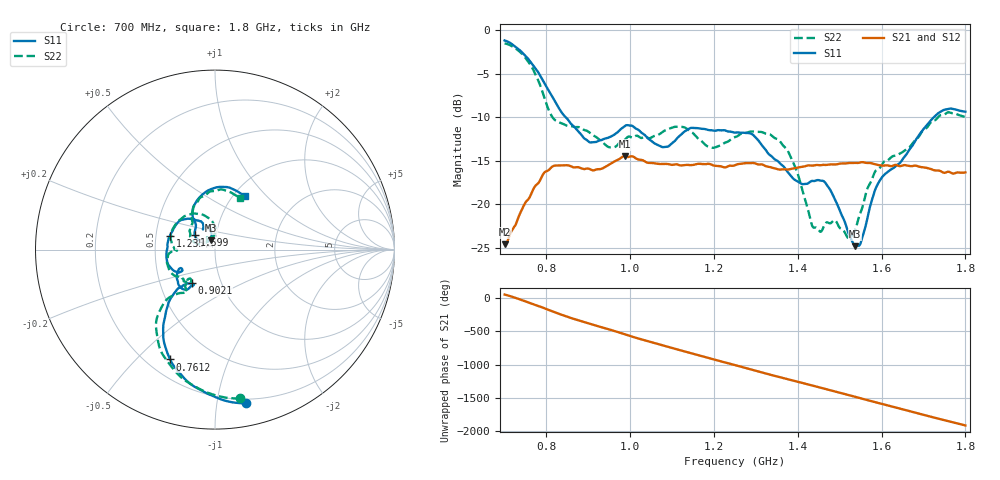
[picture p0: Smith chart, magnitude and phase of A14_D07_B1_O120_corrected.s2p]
! Created with skrf 1.9.0 (http://scikit-rf.org).
# Hz S RI R 50.0
!freq ReS11 ImS11 ReS21 ImS21 ReS12 ImS12 ReS22 ImS22
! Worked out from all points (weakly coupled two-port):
!   1601 points, 700 MHz to 1.8 GHz, reference 50 ohm
!   highest |S21| = -14.48 dB at 986.7 MHz (marker M1); lowest = -24.6 dB at 700 MHz (marker M2)
!   lowest |S11| = -24.8 dB at 1.537 GHz (marker M3), VSWR 1.12, Z = 47.4 + j4.94 ohm
!   |S11| at or under -10 dB: 845.9 MHz to 1.725 GHz (878.6 MHz wide, 68.4 % of centre)
!   |S22| runs from -23.9 to -1.5 dB; largest |S21 - S12| = 0.0036
!   S11 on the Smith chart (normalised r, x): 700 MHz: 0.17, -1.21; 761.2 MHz: 0.29, -0.63; 902.1 MHz: 0.72, -0.29; 1.235 GHz: 0.59, +0.10; 1.599 GHz: 0.79, +0.13; 1.8 GHz: 1.13, +0.76
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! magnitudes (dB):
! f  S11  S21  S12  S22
! 700 MHz  -1.2  -24.6  -24.4  -1.5
! 761.2 MHz  -3.6  -19.1  -19.0  -3.9
! 816.2 MHz  -7.8  -15.6  -15.7  -10.1
! 883.6 MHz  -12.0  -15.9  -15.8  -11.3
! 902.1 MHz  -12.9  -15.9  -15.9  -11.7
! 950.9 MHz  -12.3  -15.4  -15.4  -13.5
! 986.7 MHz  -11.0  -14.5  -14.6  -12.6
! 1.067 GHz  -13.2  -15.4  -15.3  -12.0
! 1.145 GHz  -11.2  -15.5  -15.5  -11.7
! 1.192 GHz  -11.5  -15.4  -15.4  -13.5
! 1.235 GHz  -11.6  -15.6  -15.7  -12.7
! 1.25 GHz  -11.8  -15.5  -15.4  -12.3
! 1.357 GHz  -15.3  -16.0  -16.0  -12.8
! 1.395 GHz  -17.3  -15.8  -15.8  -15.9
! 1.434 GHz  -17.3  -15.6  -15.5  -22.4
! 1.473 GHz  -18.0  -15.4  -15.5  -22.1
! 1.537 GHz  -24.8  -15.2  -15.3  -23.0
! 1.551 GHz  -24.3  -15.2  -15.2  -20.8
! 1.599 GHz  -17.1  -15.5  -15.5  -15.6
! 1.617 GHz  -16.2  -15.6  -15.5  -14.9
! 1.734 GHz  -9.6  -16.1  -16.2  -10.0
! 1.8 GHz  -9.4  -16.3  -16.3  -10.0
